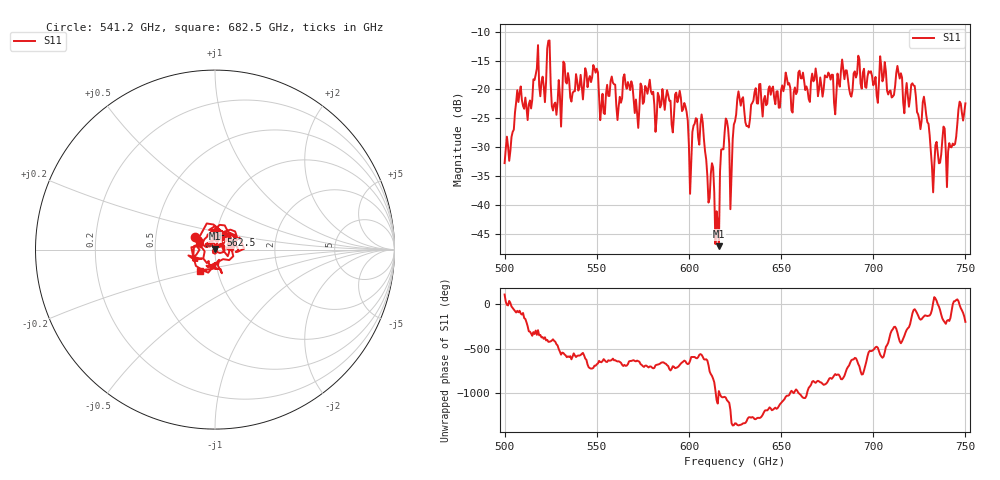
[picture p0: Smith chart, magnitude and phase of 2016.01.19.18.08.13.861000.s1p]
!Created with skrf (http://scikit-rf.org).
# GHz S RI R 50.0
!freq ReS11 ImS11
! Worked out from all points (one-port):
!   401 points, 500 GHz to 750 GHz, reference 50 ohm
!   lowest |S11| = -47.1 dB at 616.2 GHz (marker M1), VSWR 1.01, Z = 49.9 + j0.435 ohm
!   |S11| at or under -10 dB: start of sweep to end of sweep
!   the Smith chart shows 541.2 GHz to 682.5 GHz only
!   S11 on the Smith chart (normalised r, x): 541.2 GHz: 0.79, +0.12; 562.5 GHz: 1.05, +0.17; 682.5 GHz: 0.82, -0.20
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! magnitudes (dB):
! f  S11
! 500 GHz  -32.7
! 516.9 GHz  -17.4
! 520.6 GHz  -17.8
! 523.8 GHz  -11.6
! 526.9 GHz  -22.6
! 531.2 GHz  -21.1
! 541.2 GHz  -17.5
! 549.4 GHz  -17.1
! 553.1 GHz  -20.8
! 558.8 GHz  -18.8
! 562.5 GHz  -21.3
! 565.6 GHz  -19.1
! 593.8 GHz  -22.2
! 600.6 GHz  -38.1
! 607.5 GHz  -25.7
! 615 GHz  -41.1
! 616.2 GHz  -47.1
! 619.4 GHz  -27.4
! 623.1 GHz  -34.5
! 625 GHz  -25.5
! 656.2 GHz  -24.0
! 682.5 GHz  -16.7
! 687.5 GHz  -20.8
! 705 GHz  -18.6
! 718.8 GHz  -21.1
! 728.1 GHz  -22.7
! 732.5 GHz  -37.8
! 750 GHz  -22.4
